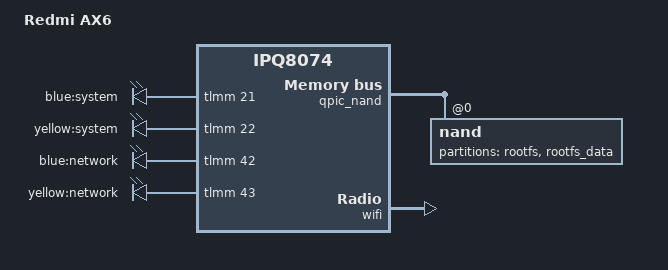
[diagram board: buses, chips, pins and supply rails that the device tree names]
// SPDX-License-Identifier: GPL-2.0-or-later OR MIT
/* Copyright (c) 2021, Zhijun You <hujy652@gmail.com> */

/dts-v1/;

#include "ipq8071-ax3600.dtsi"

/ {
	model = "Redmi AX6";
	compatible = "redmi,ax6", "qcom,ipq8074";

    chosen {
        bootargs-append = " ubi.mtd=rootfs_data root=/dev/ubiblock0_1 mtdoops.mtddev=pstore";
    };

	leds {
		compatible = "gpio-leds";

		led_system_blue: system-blue {
			label = "blue:system";
			gpios = <&tlmm 21 GPIO_ACTIVE_HIGH>;
		};

		led_system_yellow: system-yellow {
			label = "yellow:system";
			gpios = <&tlmm 22 GPIO_ACTIVE_HIGH>;
		};

		network-blue {
			label = "blue:network";
			gpios = <&tlmm 42 GPIO_ACTIVE_HIGH>;
		};

		network-yellow {
			label = "yellow:network";
			gpios = <&tlmm 43 GPIO_ACTIVE_HIGH>;
		};
	};
};

/* AX6 can both have NAND of 256MiB or 128MiB.
 * To be on the safe side, assume 128MiB of NAND.
 */

&qpic_nand {
    nand@0 {
        partitions {

            /* 修改原 ubi_kernel 分区 → rootfs */
            partition@a00000 {
                label = "rootfs";
                reg = <0xa00000 0x23c0000>;
            };

            /* 修改原 rootfs 分区 → rootfs_data */
            partition@2dc0000 {
                label = "rootfs_data";
                reg = <0x2dc0000 0x5240000>;
            };

            /* ↑ 其余所有分区（sbl1、mibib、art、pstore 等）
             *   全部保持 dtsi 中的原始定义，无需重复书写
             */
        };
    };
};

&wifi {
	qcom,ath11k-calibration-variant = "Redmi-AX6";
};
